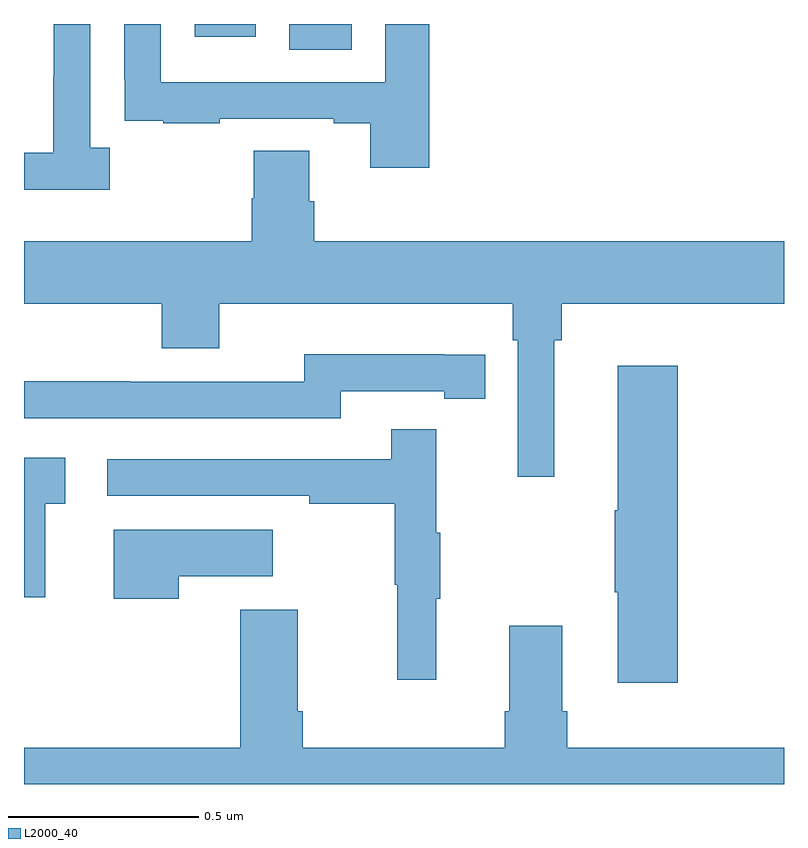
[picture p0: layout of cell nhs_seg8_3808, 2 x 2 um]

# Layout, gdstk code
import gdstk
lib = gdstk.Library(unit=1e-6, precision=1e-09)
def R(c, l, rs):  # rectangles x0, y0, x1, y1
    for r in rs: c.add(gdstk.rectangle(r[:2], r[2:], *l))
def P(c, l, *ps):  # polygons
    for p in ps: c.add(gdstk.Polygon(p, *l))
L2000_40 = (2000, 40)

nhs_seg8_3808 = lib.new_cell('nhs_seg8_3808')
R(nhs_seg8_3808, L2000_40, [(162.698,1119.832,162.862,1119.9), (162.449,1119.867,162.61,1119.9)])
P(nhs_seg8_3808, L2000_40, [(163.067,1119.9),(162.951,1119.9),(162.951,1119.747),(162.36,1119.747),(162.36,1119.9),(162.264,1119.9),(162.264,1119.754),(162.265,1119.754),(162.265,1119.645),(162.367,1119.645),(162.367,1119.639),(162.515,1119.639),(162.515,1119.651),(162.815,1119.651),(162.815,1119.639),(162.911,1119.639),(162.911,1119.522),(163.067,1119.522)],
  [(162.226,1119.574),(162.174,1119.574),(162.174,1119.9),(162.078,1119.9),(162.078,1119.761),(162.077,1119.761),(162.077,1119.561),(162,1119.561),(162,1119.464),(162.226,1119.464)],
  [(163.396,1119.068),(163.415,1119.068),(163.415,1119.164),(164,1119.164),(164,1119.328),(162.764,1119.328),(162.764,1119.434),(162.751,1119.434),(162.751,1119.566),(162.604,1119.566),(162.604,1119.441),(162.599,1119.441),(162.599,1119.328),(162,1119.328),(162,1119.164),(162.362,1119.164),(162.362,1119.047),(162.514,1119.047),(162.514,1119.164),(163.286,1119.164),(163.286,1119.068),(163.299,1119.068),(163.299,1118.709),(163.396,1118.709)],
  [(162.834,1118.934),(163.106,1118.934),(163.106,1118.914),(163.214,1118.914),(163.214,1119.03),(163.106,1119.03),(163.106,1119.031),(162.738,1119.031),(162.738,1118.958),(162.278,1118.958),(162.278,1118.96),(162,1118.96),(162,1118.862),(162.834,1118.862)],
  [(163.721,1119.001),(163.562,1119.001),(163.562,1118.621),(163.555,1118.621),(163.555,1118.404),(163.562,1118.404),(163.562,1118.166),(163.721,1118.166)],
  [(163.085,1118.387),(163.096,1118.387),(163.096,1118.561),(163.085,1118.561),(163.085,1118.833),(162.967,1118.833),(162.967,1118.754),(162.219,1118.754),(162.219,1118.658),(162.751,1118.658),(162.751,1118.638),(162.975,1118.638),(162.975,1118.424),(162.982,1118.424),(162.982,1118.175),(163.085,1118.175)],
  [(162.056,1118.637),(162.109,1118.637),(162.109,1118.758),(162,1118.758),(162,1118.391),(162.056,1118.391)],
  [(162.407,1118.447),(162.655,1118.447),(162.655,1118.569),(162.236,1118.569),(162.236,1118.388),(162.407,1118.388)],
  [(164,1117.996),(163.43,1117.996),(163.43,1118.092),(163.417,1118.092),(163.417,1118.317),(163.277,1118.317),(163.277,1118.092),(163.265,1118.092),(163.265,1117.996),(162.734,1117.996),(162.734,1118.092),(162.721,1118.092),(162.721,1118.359),(162.569,1118.359),(162.569,1117.996),(162,1117.996),(162,1117.9),(164,1117.9)])

lib.write_gds('nhs_seg8_3808.gds')
